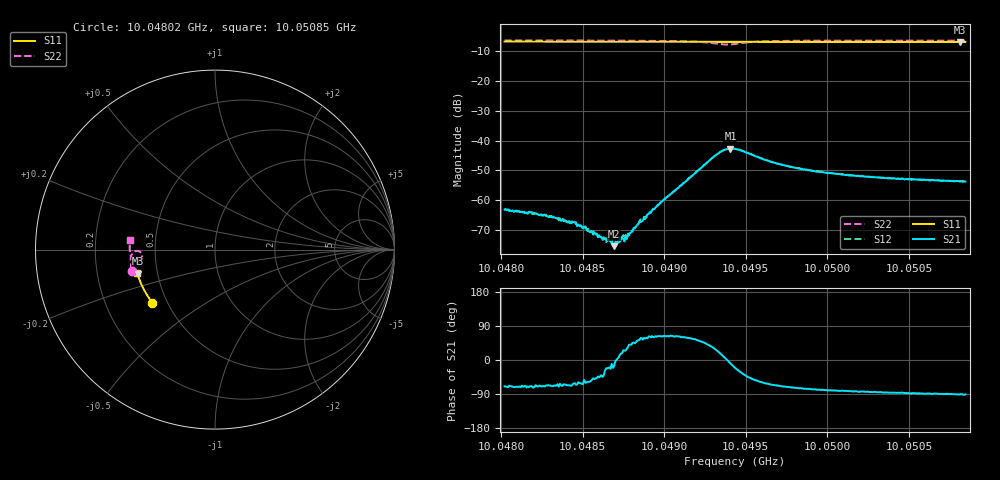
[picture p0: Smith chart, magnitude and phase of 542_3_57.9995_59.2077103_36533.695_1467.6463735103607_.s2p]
#  HZ  S  RI  R  50.00
! Rohde & Schwarz Vector Network Analyzer
! Rohde-Schwarz,ZNB20-2Port,1311601062101988,3.16
! Created: UTC 3/21/2024, 1:14:39 AM
! freq[Hz]  re:S11  im:S11  re:S21  im:S21  re:S12  im:S12  re:S22  im:S22
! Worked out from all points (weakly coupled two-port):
!   401 points, 10.04802 GHz to 10.05085 GHz, reference 50 ohm
!   highest |S21| = -42.71 dB at 10.04941 GHz (marker M1); lowest = -75.5 dB at 10.04869 GHz (marker M2)
!   lowest |S11| = -6.9 dB at 10.05081 GHz (marker M3), VSWR 2.65, Z = 19.2 - j6.51 ohm
!   |S11| at or under -10 dB: nowhere
!   |S22| runs from -7.8 to -6.4 dB; largest |S21 - S12| = 0.00052
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1.0048021e10  -0.3482 -0.2959  0.000242 -0.000649  0.000287 -0.000655  -0.4631 -0.1173
1.0048184e10  -0.3547 -0.2875  0.00023 -0.000586  0.000248 -0.00056  -0.4655 -0.1062
1.0048304e10  -0.3596 -0.2811  0.000198 -0.00048  0.000233 -0.000487  -0.467 -0.0975
1.0048445e10  -0.3651 -0.2736  0.000202 -0.000376  0.000187 -0.000364  -0.4685 -0.0874
1.0048494e10  -0.3669 -0.2708  0.000165 -0.000322  0.000175 -0.000299  -0.469 -0.0836
1.004853e10  -0.3683 -0.2689  0.000161 -0.000256  0.000194 -0.000262  -0.4693 -0.081
1.0048629e10  -0.3719 -0.2636  0.000177 -0.000157  0.000188 -0.00011  -0.47 -0.0732
1.0048692e10  -0.3743 -0.2602  0.000161 -4.94e-05  0.000209 -1.21e-05  -0.4703 -0.0683
1.004872e10  -0.3752 -0.2585  0.000193 2.19e-05  0.000192 2.09e-05  -0.4703 -0.066
1.004877e10  -0.377 -0.2557  0.000194 0.000109  0.000187 0.000143  -0.4706 -0.0618
1.0048862e10  -0.3803 -0.2506  0.000234 0.000368  0.000247 0.000396  -0.4703 -0.0533
1.0048968e10  -0.3837 -0.2446  0.000385 0.000749  0.000333 0.000782  -0.469 -0.043
1.0049307e10  -0.3944 -0.2251  0.00469 0.00274  0.00453 0.00303  -0.4262 -0.00801
1.0049363e10  -0.3959 -0.2218  0.00674 0.00111  0.00671 0.00155  -0.4087 -0.0229
1.0049405e10  -0.3971 -0.2197  0.00723 -0.00116  0.00732 -0.000649  -0.4072 -0.0424
1.0049434e10  -0.3979 -0.2182  0.00678 -0.00254  0.00696 -0.00208  -0.4134 -0.0534
1.0049674e10  -0.4054 -0.2043  0.00172 -0.00389  0.00197 -0.00379  -0.4647 -0.044
1.0049907e10  -0.4117 -0.1904  0.00068 -0.00304  0.000887 -0.00297  -0.4735 -0.0191
1.0050126e10  -0.4173 -0.1771  0.000372 -0.00259  0.000531 -0.00262  -0.4752 -0.00018
1.005038e10  -0.4232 -0.1615  0.000145 -0.00233  0.000303 -0.00228  -0.4754 0.0194
1.0050811e10  -0.4317 -0.1346  -2.79e-05 -0.00205  9.55e-05 -0.00207  -0.4732 0.05
1.0050846e10  -0.4325 -0.1324  -3.13e-05 -0.00205  7.93e-05 -0.00207  -0.4729 0.0523
